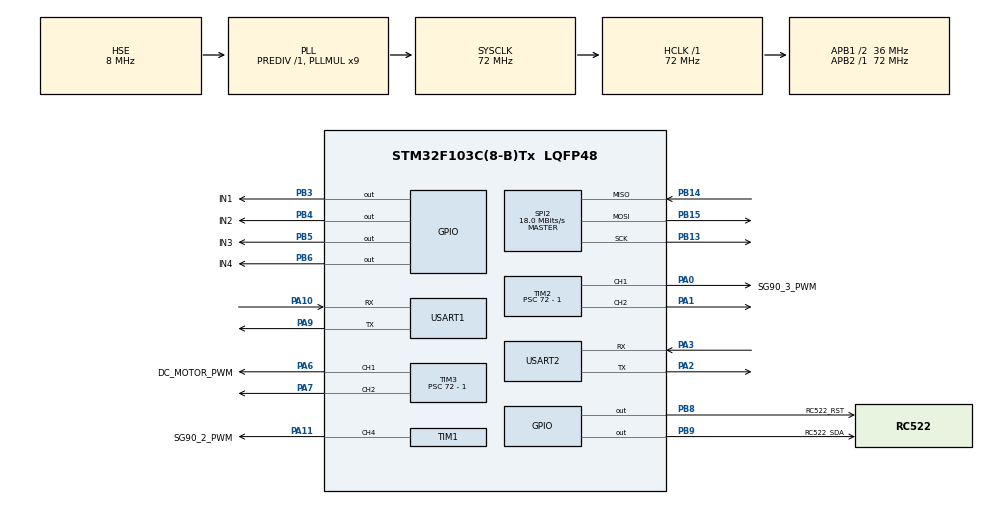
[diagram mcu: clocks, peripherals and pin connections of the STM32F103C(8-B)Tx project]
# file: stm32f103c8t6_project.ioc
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Mcu.Family=STM32F1
Mcu.Name=STM32F103C(8-B)Tx
Mcu.Package=LQFP48
NVIC.PriorityGroup=NVIC_PRIORITYGROUP_4
NVIC.USART1_IRQn=true\:0\:0\:false\:false\:true\:true\:true\:true
NVIC.USART2_IRQn=true\:0\:0\:false\:false\:true\:true\:true\:true
PA0-WKUP.GPIO_Label=SG90_3_PWM
PA0-WKUP.Signal=S_TIM2_CH1_ETR
PA1.Signal=S_TIM2_CH2
PA10.Mode=Asynchronous
PA10.Signal=USART1_RX
PA11.GPIO_Label=SG90_2_PWM
PA11.Signal=S_TIM1_CH4
PA13.Mode=Serial_Wire
PA13.Signal=SYS_JTMS-SWDIO
PA14.Mode=Serial_Wire
PA14.Signal=SYS_JTCK-SWCLK
PA2.Mode=Asynchronous
PA2.Signal=USART2_TX
PA3.Mode=Asynchronous
PA3.Signal=USART2_RX
PA6.GPIO_Label=DC_MOTOR_PWM
PA6.Signal=S_TIM3_CH1
PA7.Signal=S_TIM3_CH2
PA9.Mode=Asynchronous
PA9.Signal=USART1_TX
PB13.Mode=Full_Duplex_Master
PB13.Signal=SPI2_SCK
PB14.Mode=Full_Duplex_Master
PB14.Signal=SPI2_MISO
PB15.Mode=Full_Duplex_Master
PB15.Signal=SPI2_MOSI
PB3.GPIO_Label=IN1
PB3.GPIO_ModeDefaultOutputPP=GPIO_MODE_OUTPUT_PP
PB3.GPIO_PuPd=GPIO_PULLUP
PB3.GPIO_Speed=GPIO_SPEED_FREQ_HIGH
PB3.PinState=GPIO_PIN_RESET
PB3.Signal=GPIO_Output
PB4.GPIO_Label=IN2
PB4.GPIO_ModeDefaultOutputPP=GPIO_MODE_OUTPUT_PP
PB4.GPIO_PuPd=GPIO_PULLUP
PB4.GPIO_Speed=GPIO_SPEED_FREQ_HIGH
PB4.PinState=GPIO_PIN_RESET
PB4.Signal=GPIO_Output
PB5.GPIO_Label=IN3
PB5.GPIO_ModeDefaultOutputPP=GPIO_MODE_OUTPUT_PP
PB5.GPIO_PuPd=GPIO_PULLUP
PB5.GPIO_Speed=GPIO_SPEED_FREQ_HIGH
PB5.PinState=GPIO_PIN_RESET
PB5.Signal=GPIO_Output
PB6.GPIO_Label=IN4
PB6.GPIO_ModeDefaultOutputPP=GPIO_MODE_OUTPUT_PP
PB6.GPIO_PuPd=GPIO_PULLUP
PB6.GPIO_Speed=GPIO_SPEED_FREQ_HIGH
PB6.PinState=GPIO_PIN_RESET
PB6.Signal=GPIO_Output
PB8.GPIO_Label=RC522_RST
PB8.GPIO_PuPd=GPIO_PULLUP
PB8.GPIO_Speed=GPIO_SPEED_FREQ_HIGH
PB8.Signal=GPIO_Output
PB9.GPIO_Label=RC522_SDA
PB9.GPIO_PuPd=GPIO_PULLUP
PB9.GPIO_Speed=GPIO_SPEED_FREQ_HIGH
PB9.Signal=GPIO_Output
PD0-OSC_IN.Mode=HSE-External-Oscillator
PD0-OSC_IN.Signal=RCC_OSC_IN
PD1-OSC_OUT.Mode=HSE-External-Oscillator
PD1-OSC_OUT.Signal=RCC_OSC_OUT
ProjectManager.HeapSize=0x200
ProjectManager.StackSize=0x400
ProjectManager.TargetToolchain=MDK-ARM V5.32
RCC.AHBFreq_Value=72000000
RCC.APB1CLKDivider=RCC_HCLK_DIV2
RCC.APB1Freq_Value=36000000
RCC.APB1TimFreq_Value=72000000
RCC.APB2Freq_Value=72000000
RCC.APB2TimFreq_Value=72000000
RCC.HCLKFreq_Value=72000000
RCC.PLLMUL=RCC_PLL_MUL9
RCC.PLLSourceVirtual=RCC_PLLSOURCE_HSE
RCC.SYSCLKFreq_VALUE=72000000
RCC.SYSCLKSource=RCC_SYSCLKSOURCE_PLLCLK
RCC.USBFreq_Value=72000000
SH.S_TIM1_CH4.0=TIM1_CH4,PWM Generation4 CH4
SH.S_TIM2_CH1_ETR.0=TIM2_CH1,PWM Generation1 CH1
SH.S_TIM2_CH2.0=TIM2_CH2,PWM Generation2 CH2
SH.S_TIM3_CH1.0=TIM3_CH1,PWM Generation1 CH1
SH.S_TIM3_CH2.0=TIM3_CH2,PWM Generation2 CH2
SPI2.CalculateBaudRate=18.0 MBits/s
SPI2.Direction=SPI_DIRECTION_2LINES
SPI2.Mode=SPI_MODE_MASTER
SPI2.VirtualType=VM_MASTER
TIM1.Channel-PWM\ Generation4\ CH4=TIM_CHANNEL_4
TIM1.Period=20000 - 1
TIM1.Prescaler=72 - 1
TIM2.Channel-PWM\ Generation1\ CH1=TIM_CHANNEL_1
TIM2.Channel-PWM\ Generation2\ CH2=TIM_CHANNEL_2
TIM2.Period=20000 - 1
TIM2.Prescaler=72 - 1
TIM3.Channel-PWM\ Generation1\ CH1=TIM_CHANNEL_1
TIM3.Channel-PWM\ Generation2\ CH2=TIM_CHANNEL_2
TIM3.Period=40000 - 1
TIM3.Prescaler=72 - 1
USART1.VirtualMode=VM_ASYNC
USART2.VirtualMode=VM_ASYNC
VP_TIM1_VS_ClockSourceINT.Mode=Internal
VP_TIM2_VS_ClockSourceINT.Mode=Internal
VP_TIM3_VS_ClockSourceINT.Mode=Internal
board=custom

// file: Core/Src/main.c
/* USER CODE BEGIN Header */
/**
  ******************************************************************************
  * @file           : main.c
  * @brief          : Main program body
  ******************************************************************************
  * @attention
  *
  * Copyright (c) 2025 STMicroelectronics.
  * All rights reserved.
  *
  * This software is licensed under terms that can be found in the LICENSE file
  * in the root directory of this software component.
  * If no LICENSE file comes with this software, it is provided AS-IS.
  *
  ******************************************************************************
  */
/* USER CODE END Header */
#include "main.h"
#include "spi.h"
#include "tim.h"
#include "usart.h"
#include "gpio.h"

/* USER CODE BEGIN Includes */
#include "rc522.h"
#include "stdio.h"
#include "step_motor.h"
#include "sg90.h"
#include "dc_motor.h"
#include "usart.h"
/* USER CODE END Includes */

/* USER CODE BEGIN PTD */
extern uint8_t usart1_data_ready, usart2_data_ready;
/* USER CODE END PTD */

void SystemClock_Config(void);

int main(void)
{

  /* MCU Configuration--------------------------------------------------------*/

  /* Reset of all peripherals, Initializes the Flash interface and the Systick. */
  HAL_Init();

  /* Configure the system clock */
  SystemClock_Config();

  /* Initialize all configured peripherals */
  MX_GPIO_Init();
  MX_SPI2_Init();
  MX_USART1_UART_Init();
  MX_TIM2_Init();
  MX_TIM3_Init();
  MX_USART2_UART_Init();
  MX_TIM1_Init();
  /* USER CODE BEGIN 2 */
  RC522_Init();
	sg90_init();
	airConditioner_init();
	usart_init();
	set_sg90_2_angle(90);
  /* USER CODE END 2 */

  /* Infinite loop */
  /* USER CODE BEGIN WHILE */
  while (1)
  {
//	  curtain_open_angle(90);
//	  airConditioner_heat(2);
//	  HAL_Delay(500);
//	  airConditioner_cool(2);
//	  HAL_Delay(500);
//	  door_open();
//	  HAL_Delay(500);
//	  door_close();
//	  HAL_Delay(500);
		ReaderCard();
		// 处理 USART1 数据（asrpro�??
		if (usart1_data_ready)
		{
			usart1_rx_process();  // 处理接收到的数据
			usart1_data_ready = 0;  // 清除标志�??
		}

		// 处理 USART2 数据（hi3861�??
		if (usart2_data_ready)
		{
			usart2_rx_process();  // 处理接收到的数据
			usart2_data_ready = 0;  // 清除标志�??
		}

//		usart2_func();
//		printf("other tasks\n");

//		curtain_open();
//		HAL_Delay(500);
//		door_open();
//		HAL_Delay(500);
//		door_close();
//		HAL_Delay(500);
//
//		airConditioner_work(7);
//		HAL_Delay(5000);
//		airConditioner_work(0);
//		HAL_Delay(5000);
//		airConditioner_work(6);
//		HAL_Delay(5000);
    /* USER CODE END WHILE */

  }
}

void SystemClock_Config(void)
{
  RCC_OscInitTypeDef RCC_OscInitStruct = {0};
  RCC_ClkInitTypeDef RCC_ClkInitStruct = {0};

  /** Initializes the RCC Oscillators according to the specified parameters
  * in the RCC_OscInitTypeDef structure.
  */
  RCC_OscInitStruct.OscillatorType = RCC_OSCILLATORTYPE_HSE;
  RCC_OscInitStruct.HSEState = RCC_HSE_ON;
  RCC_OscInitStruct.HSEPredivValue = RCC_HSE_PREDIV_DIV1;
  RCC_OscInitStruct.HSIState = RCC_HSI_ON;
  RCC_OscInitStruct.PLL.PLLState = RCC_PLL_ON;
  RCC_OscInitStruct.PLL.PLLSource = RCC_PLLSOURCE_HSE;
  RCC_OscInitStruct.PLL.PLLMUL = RCC_PLL_MUL9;
  if (HAL_RCC_OscConfig(&RCC_OscInitStruct) != HAL_OK)
  {
    Error_Handler();
  }

  /** Initializes the CPU, AHB and APB buses clocks
  */
  RCC_ClkInitStruct.ClockType = RCC_CLOCKTYPE_HCLK|RCC_CLOCKTYPE_SYSCLK
                              |RCC_CLOCKTYPE_PCLK1|RCC_CLOCKTYPE_PCLK2;
  RCC_ClkInitStruct.SYSCLKSource = RCC_SYSCLKSOURCE_PLLCLK;
  RCC_ClkInitStruct.AHBCLKDivider = RCC_SYSCLK_DIV1;
  RCC_ClkInitStruct.APB1CLKDivider = RCC_HCLK_DIV2;
  RCC_ClkInitStruct.APB2CLKDivider = RCC_HCLK_DIV1;

  if (HAL_RCC_ClockConfig(&RCC_ClkInitStruct, FLASH_LATENCY_2) != HAL_OK)
  {
    Error_Handler();
  }
}

void Error_Handler(void)
{
  __disable_irq();
  while (1)
  {
  }
}
